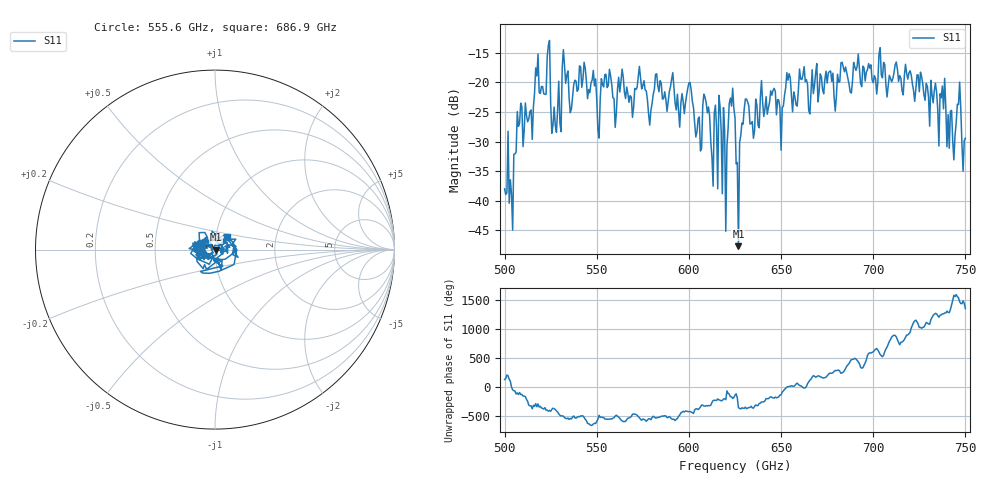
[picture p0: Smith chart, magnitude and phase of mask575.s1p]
!Created with skrf (http://scikit-rf.org).
# GHz S MA R 50.0
!freq magS11 angS11
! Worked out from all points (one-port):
!   401 points, 500 GHz to 750 GHz, reference 50 ohm
!   lowest |S11| = -47.6 dB at 626.9 GHz (marker M1), VSWR 1.01, Z = 50.4 + j0.0143 ohm
!   |S11| at or under -10 dB: start of sweep to end of sweep
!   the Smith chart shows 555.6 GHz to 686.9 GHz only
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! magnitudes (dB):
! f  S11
! 500 GHz  -38.0
! 503.8 GHz  -38.9
! 508.1 GHz  -26.9
! 513.8 GHz  -24.9
! 517.5 GHz  -18.9
! 523.8 GHz  -13.7
! 526.9 GHz  -24.2
! 531.2 GHz  -17.6
! 542.5 GHz  -19.4
! 551.2 GHz  -29.4
! 562.5 GHz  -21.6
! 593.8 GHz  -22.0
! 600.6 GHz  -20.0
! 605.6 GHz  -25.8
! 609.4 GHz  -23.5
! 619.4 GHz  -28.1
! 623.1 GHz  -24.0
! 625 GHz  -25.9
! 626.9 GHz  -47.6
! 631.2 GHz  -22.8
! 634.4 GHz  -26.6
! 656.2 GHz  -25.0
! 687.5 GHz  -21.6
! 718.8 GHz  -19.4
! 737.5 GHz  -20.6
! 742.5 GHz  -24.7
! 746.2 GHz  -23.8
! 750 GHz  -29.4
